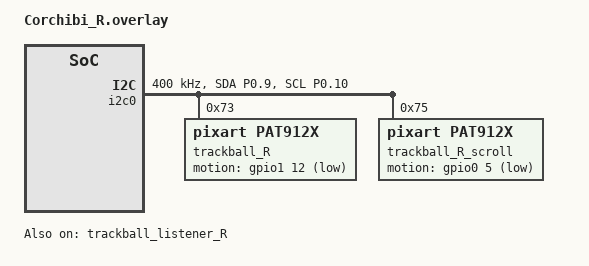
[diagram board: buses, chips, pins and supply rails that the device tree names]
#include "corchibi.dtsi"
#include <dt-bindings/pinctrl/nrf-pinctrl.h>
#include <dt-bindings/zmk/input_transform.h>
#include <input/processors.dtsi>

&default_transform {
    col-offset = <6>;
};

&kscan0 {
    compatible = "zmk,kscan-gpio-charlieplex";
    gpios
        = <&gpio0 3 (GPIO_ACTIVE_HIGH)>
        , <&gpio0 28 (GPIO_ACTIVE_HIGH)>
        , <&gpio0 29 (GPIO_ACTIVE_HIGH)>
        , <&gpio1 11 (GPIO_ACTIVE_HIGH)>
        , <&gpio1 15 (GPIO_ACTIVE_HIGH)>
        , <&gpio1 14 (GPIO_ACTIVE_HIGH)>
        ;
};

&pinctrl {
    i2c0_default: i2c0_default {
        group1 {
            psels = <NRF_PSEL(TWIM_SDA, 0, 9)>, <NRF_PSEL(TWIM_SCL, 0, 10)>;
        };
    };
    i2c0_sleep: i2c0_sleep {
        group1 {
            psels = <NRF_PSEL(TWIM_SDA, 0, 9)>, <NRF_PSEL(TWIM_SCL, 0, 10)>;
            low-power-enable;
        };
    };
};

/ {
    // 外部モジュールを使用した高度な加速度ノードの定義
    zip_pointing_accel: zip_pointing_accel {
        compatible = "zmk,input-processor-pointing-acceleration";
        min-factor = <1000>; // 1000 = 1倍（ゆっくり動かす時はそのままの速度）
        max-factor = <5000>; // 5000 = 最大で5倍まで加速
        speed-threshold = <500>; // 動かす速さが500カウント/秒を超えると加速が始まる
        speed-max = <2000>; // 動かす速さが2000に達すると、最大の5倍ゲインになる
        acceleration-exponent = <2>; // 2次曲線（徐々に強くなるスムーズな加速カーブ）
    };

    // 右手用スクロールリスナー（スクロール専用）
    trackball_listener_R_scroll: trackball_listener_R_scroll {
        compatible = "zmk,input-listener";
        status = "okay";
        device = <&trackball_R_scroll>;
        input-processors =
            <&zip_xy_to_scroll_mapper>,
            <&zip_scroll_scaler 1 4>;
    };
};

// 右手用メインリスナー（マウス移動用）
&trackball_listener_R {
    status = "okay";
    device = <&trackball_R>;
    input-processors = 
        // ここで上で定義した加速度ノードを適用
        <&zip_pointing_accel>,
        <&zip_xy_scaler 1 1>;
};

&i2c0 {
    status = "okay";
    compatible = "nordic,nrf-twim";
    pinctrl-0 = <&i2c0_default>;
    pinctrl-1 = <&i2c0_sleep>;
    pinctrl-names = "default", "sleep";
    clock-frequency = <I2C_BITRATE_FAST>;
    #address-cells = <1>;
    #size-cells = <0>;

    // 0x73: マウスカーソル (Contru1)
    trackball_R: trackball_R@73 {
        compatible = "pixart,pat912x";
        reg = <0x73>;
        status = "okay";
        motion-gpios = <&gpio1 12 (GPIO_ACTIVE_LOW | GPIO_PULL_UP)>;
        res-x-cpi = <1200>;
        res-y-cpi = <1200>;
        zephyr,axis-x = <INPUT_REL_X>;
        zephyr,axis-y = <INPUT_REL_Y>;
    };

    // 0x75: スクロール (Contru2)
    trackball_R_scroll: trackball_R_scroll@75 {
        compatible = "pixart,pat912x";
        reg = <0x75>;
        status = "okay";
        motion-gpios = <&gpio0 5 (GPIO_ACTIVE_LOW | GPIO_PULL_UP)>;
        res-x-cpi = <600>;
        res-y-cpi = <600>;
        zephyr,axis-x = <INPUT_REL_X>;
        zephyr,axis-y = <INPUT_REL_Y>;
    };
};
